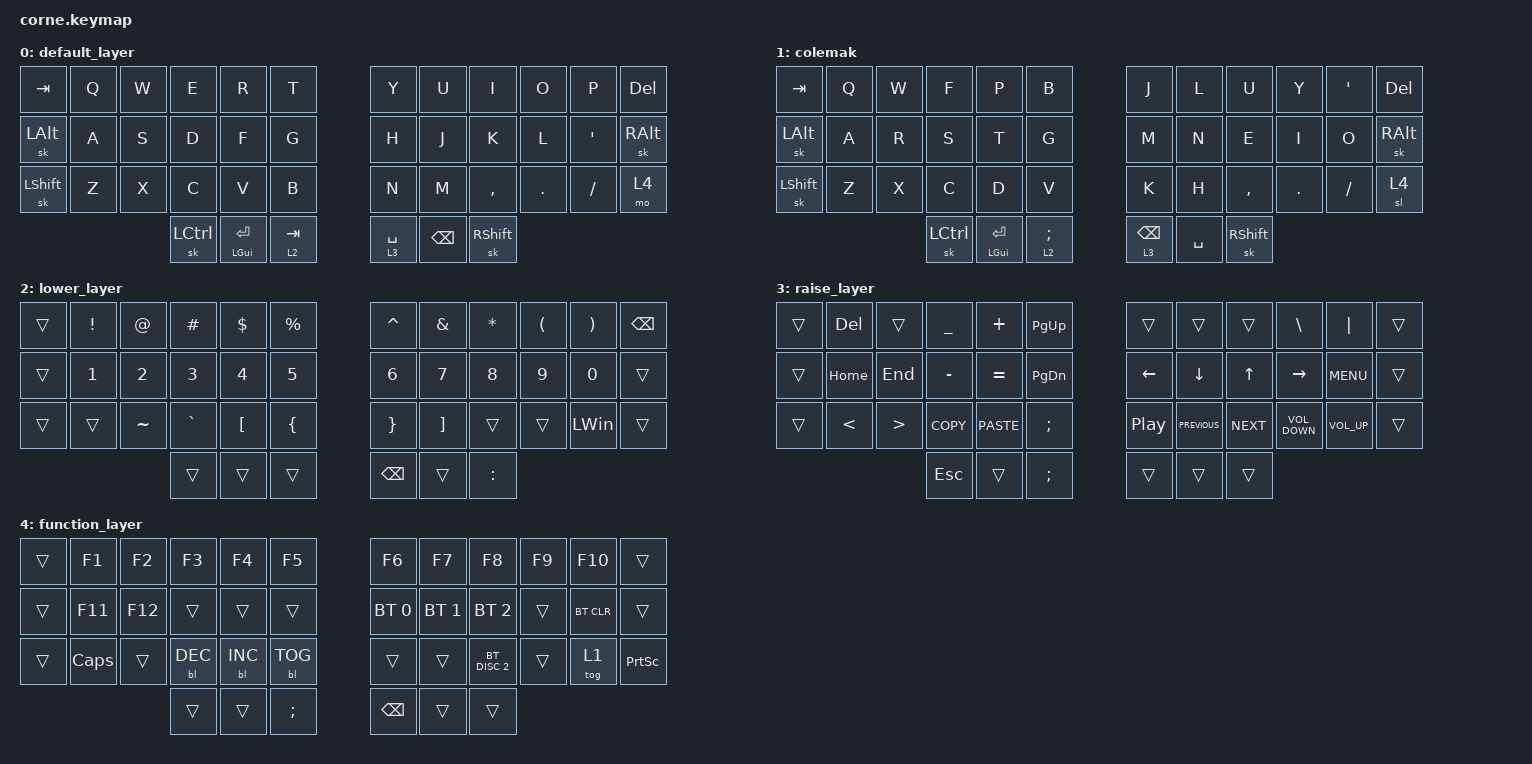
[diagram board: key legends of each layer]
/*
 * Copyright 2024 Kyle O'Dore (@KyleODore)
 * 
 * Originally created for QMK by Mark Stosberg (@markstos), ported to ZMK by Michał Minarowski (@n3oney)
 * 
 * SPDX-License-Identifier: GPL-2.0-or-later
 */

#include <behaviors.dtsi>
#include <dt-bindings/zmk/backlight.h>
#include <dt-bindings/zmk/bt.h>
#include <dt-bindings/zmk/keys.h>

/ {
    combos { compatible = "zmk,combos"; };

    keymap {
        compatible = "zmk,keymap";

        default_layer {
            bindings = <
&kp TAB    &kp Q  &kp W  &kp E      &kp R               &kp T        &kp Y        &kp U          &kp I            &kp O    &kp P             &kp DELETE
&sk LALT   &kp A  &kp S  &kp D      &kp F               &kp G        &kp H        &kp J          &kp K            &kp L    &kp SINGLE_QUOTE  &sk RIGHT_ALT
&sk LSHFT  &kp Z  &kp X  &kp C      &kp V               &kp B        &kp N        &kp M          &kp COMMA        &kp DOT  &kp FSLH          &mo 4
                         &sk LCTRL  &mt LEFT_GUI ENTER  &lt 2 TAB    &lt 3 SPACE  &kp BACKSPACE  &sk RIGHT_SHIFT
            >;
        };

        colemak {
            bindings = <
&kp TAB    &kp Q  &kp W  &kp F      &kp P               &kp B         &kp J            &kp L      &kp U            &kp Y    &kp SINGLE_QUOTE  &kp DELETE
&sk LALT   &kp A  &kp R  &kp S      &kp T               &kp G         &kp M            &kp N      &kp E            &kp I    &kp O             &sk RIGHT_ALT
&sk LSHFT  &kp Z  &kp X  &kp C      &kp D               &kp V         &kp K            &kp H      &kp COMMA        &kp DOT  &kp FSLH          &sl 4
                         &sk LCTRL  &mt LEFT_GUI ENTER  &lt 2 SEMI    &lt 3 BACKSPACE  &kp SPACE  &sk RIGHT_SHIFT
            >;
        };

        lower_layer {
            bindings = <
&trans  &kp EXCLAMATION  &kp AT_SIGN   &kp POUND     &kp DOLLAR        &kp PERCENT       &kp CARET        &kp AMPERSAND      &kp ASTERISK  &kp LEFT_PARENTHESIS  &kp RIGHT_PARENTHESIS  &kp BSPC
&trans  &kp NUMBER_1     &kp NUMBER_2  &kp NUMBER_3  &kp NUMBER_4      &kp NUMBER_5      &kp NUMBER_6     &kp NUMBER_7       &kp NUMBER_8  &kp NUMBER_9          &kp NUMBER_0           &trans
&trans  &trans           &kp TILDE     &kp GRAVE     &kp LEFT_BRACKET  &kp LEFT_BRACE    &kp RIGHT_BRACE  &kp RIGHT_BRACKET  &trans        &trans                &kp LEFT_WIN           &trans
                                       &trans        &trans            &trans            &kp BACKSPACE    &trans             &kp COLON
            >;
        };

        raise_layer {
            bindings = <
&trans  &kp DELETE     &trans            &kp UNDERSCORE  &kp PLUS     &kp PAGE_UP      &trans            &trans          &trans        &kp BACKSLASH      &kp PIPE         &trans
&trans  &kp HOME       &kp END           &kp MINUS       &kp EQUAL    &kp PAGE_DOWN    &kp LEFT          &kp DOWN        &kp UP_ARROW  &kp RIGHT          &kp K_MENU       &trans
&trans  &kp LESS_THAN  &kp GREATER_THAN  &kp K_COPY      &kp K_PASTE  &kp SEMICOLON    &kp C_PLAY_PAUSE  &kp C_PREVIOUS  &kp C_NEXT    &kp C_VOLUME_DOWN  &kp C_VOLUME_UP  &trans
                                         &kp ESCAPE      &trans       &kp SEMI         &trans            &trans          &trans
            >;
        };

        function_layer {
            bindings = <
&trans  &kp F1    &kp F2   &kp F3      &kp F4      &kp F5        &kp F6         &kp F7        &kp F8         &kp F9  &kp F10     &trans
&trans  &kp F11   &kp F12  &trans      &trans      &trans        &bt BT_SEL 0   &bt BT_SEL 1  &bt BT_SEL 2   &trans  &bt BT_CLR  &trans
&trans  &kp CAPS  &trans   &bl BL_DEC  &bl BL_INC  &bl BL_TOG    &trans         &trans        &bt BT_DISC 2  &trans  &tog 1      &kp PRINTSCREEN
                           &trans      &trans      &kp SEMI      &kp BACKSPACE  &trans        &trans
            >;
        };
    };
};
